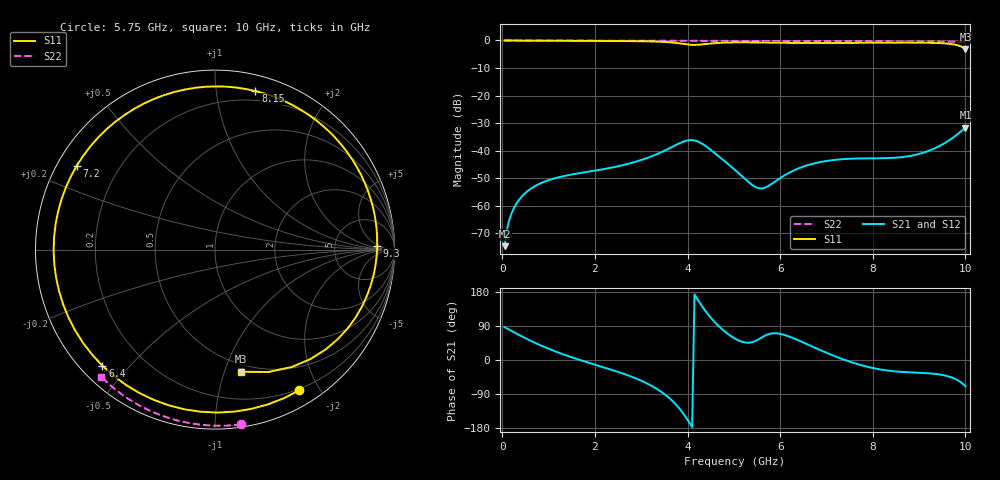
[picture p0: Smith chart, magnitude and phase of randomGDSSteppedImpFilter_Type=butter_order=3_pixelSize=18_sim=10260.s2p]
! freq	dB(S11)	phase(S11)	dB(S12)	phase(S12)
!  dB(S21)	phase(S21)	dB(S22)	phase(S22)
!S-par simulation data
#  GHz  S  DB  R 50
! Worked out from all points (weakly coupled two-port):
!   200 points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, 50 MHz to 10 GHz, reference 50 ohm
!   highest |S21| = -31.69 dB at 10 GHz (marker M1); lowest = -74.7 dB at 50 MHz (marker M2)
!   lowest |S11| = -3.1 dB at 10 GHz (marker M3), VSWR 5.58, Z = 21.6 - j57.1 ohm
!   |S11| at or under -10 dB: nowhere
!   |S22| runs from -0.4 to 0.0 dB; largest |S21 - S12| = 0
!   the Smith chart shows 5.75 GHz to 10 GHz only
!   S11 on the Smith chart (normalised r, x): 5.75 GHz: 0.18, -1.75; 6.4 GHz: 0.06, -0.42; 7.2 GHz: 0.06, +0.28; 8.15 GHz: 0.12, +1.28; 9.3 GHz: 19, +4; 10 GHz: 0.43, -1.14
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0.05  -0.01 -6.0  -74.71 86.6  -74.71 86.6  -0.00 -0.8
0.25  -0.04 -29.7  -60.91 73.1  -60.91 73.1  -0.01 -3.8
0.8  -0.10 -88.8  -52.06 40.1  -52.06 40.1  -0.02 -12.1
1.75  -0.15 -167.1  -47.96 -2.8  -47.96 -2.8  -0.03 -26.3
2.55  -0.21 135.8  -45.49 -33.3  -45.49 -33.3  -0.05 -38.0
3.4  -0.46 57.0  -40.83 -81.3  -40.83 -81.3  -0.07 -50.1
3.8  -0.98 -13.0  -37.54 -124.5  -37.54 -124.5  -0.08 -55.6
4.05  -1.53 -88.1  -36.19 -167.2  -36.19 -167.2  -0.08 -59.1
4.2  -1.59 -142.3  -36.56 163.2  -36.56 163.2  -0.09 -61.1
4.35  -1.35 168.5  -37.89 135.4  -37.89 135.4  -0.09 -63.2
4.65  -0.89 97.2  -41.77 92.0  -41.77 92.0  -0.10 -67.2
5.05  -0.70 32.6  -47.41 54.6  -47.41 54.6  -0.11 -72.5
5.4  -0.71 -14.8  -52.53 47.2  -52.53 47.2  -0.12 -77.0
5.75  -0.78 -59.0  -52.81 68.3  -52.81 68.3  -0.14 -81.5
6.4  -0.90 -134.1  -46.43 51.5  -46.43 51.5  -0.17 -89.7
6.7  -0.92 -165.1  -44.79 35.1  -44.79 35.1  -0.18 -93.4
7.2  -0.91 148.7  -43.33 9.1  -43.33 9.1  -0.21 -99.5
8.15  -0.80 75.7  -42.79 -24.7  -42.79 -24.7  -0.27 -110.7
8.35  -0.79 62.3  -42.71 -28.3  -42.71 -28.3  -0.29 -113.0
9.3  -0.88 1.4  -39.45 -36.1  -39.45 -36.1  -0.37 -123.9
9.7  -1.31 -30.7  -35.70 -45.9  -35.70 -45.9  -0.41 -128.5
10  -3.15 -77.9  -31.69 -69.5  -31.69 -69.5  -0.45 -131.9
